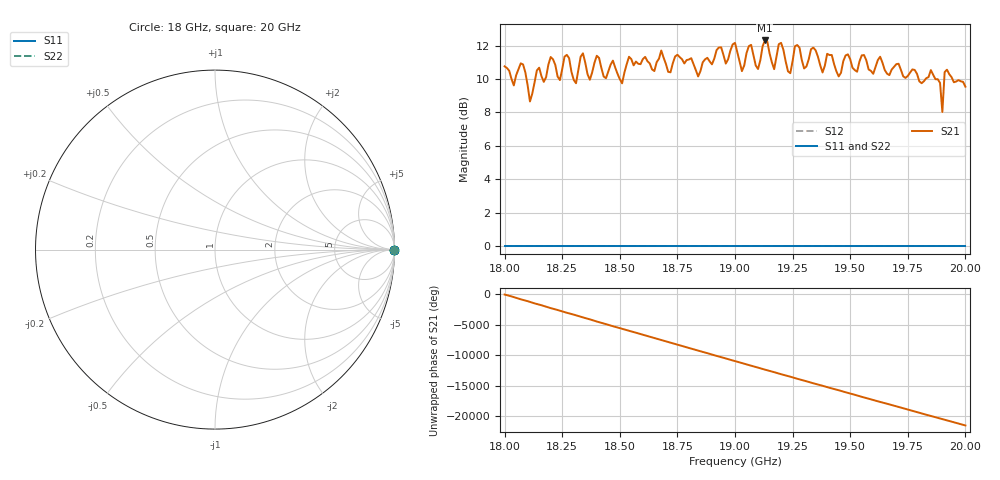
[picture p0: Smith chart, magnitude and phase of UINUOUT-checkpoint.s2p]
!Agilent N9918A: A.07.57
!Date: Monday, 27 July 2020 18:00:17
!Timezone: (GMT-08:00) Pacific Time (US & Canada)
!Model: N9918A
!Serial: MY53103598
!GPS Latitude:
!GPS Longitude:
!GPS TimeStamp: 0001-01-01 00:00:00Z
!GPS Seconds Since Last Read: 0
!CHECKSUM:0723959448
!Correction: S11()S21(Rdy)S12()S22()
!S2P File: Measurements:S11,S21,S12,S22:
# Hz S DB R 50
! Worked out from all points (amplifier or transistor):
!   201 points, 18 GHz to 20 GHz, reference 50 ohm
!   highest |S21| = 12.3 dB at 19.13 GHz (marker M1)
!   |S21| within 3 dB of that: 18.12 GHz to 19.89 GHz (1.77 GHz wide, 9.31 % of centre)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
!   unconditionally stable (mu >= 1): nowhere
!   at 18.33 GHz: K = 1.99, MSG = 5.7 dB, |S12| = 0.0 dB
!   at 19 GHz: K = 2.96, MSG = 6.1 dB, |S12| = 0.0 dB
!   at 20 GHz: K = 1.59, MSG = 4.8 dB, |S12| = 0.0 dB
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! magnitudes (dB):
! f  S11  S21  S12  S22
! 18 GHz  0.0  10.8  0.0  0.0
! 18.08 GHz  0.0  10.9  0.0  0.0
! 18.11 GHz  0.0  8.7  0.0  0.0
! 18.2 GHz  0.0  11.3  0.0  0.0
! 18.31 GHz  0.0  9.7  0.0  0.0
! 18.34 GHz  0.0  11.5  0.0  0.0
! 18.51 GHz  0.0  9.7  0.0  0.0
! 18.54 GHz  0.0  11.3  0.0  0.0
! 18.67 GHz  0.0  11.2  0.0  0.0
! 18.84 GHz  0.0  10.2  0.0  0.0
! 19 GHz  0.0  12.2  0.0  0.0
! 19.03 GHz  0.0  10.5  0.0  0.0
! 19.13 GHz  0.0  12.3  0.0  0.0
! 19.24 GHz  0.0  10.3  0.0  0.0
! 19.26 GHz  0.0  12.0  0.0  0.0
! 19.34 GHz  0.0  11.9  0.0  0.0
! 19.38 GHz  0.0  10.4  0.0  0.0
! 19.67 GHz  0.0  10.2  0.0  0.0
! 19.85 GHz  0.0  10.5  0.0  0.0
! 19.9 GHz  0.0  8.0  0.0  0.0
! 19.91 GHz  0.0  10.4  0.0  0.0
! 20 GHz  0.0  9.5  0.0  0.0
